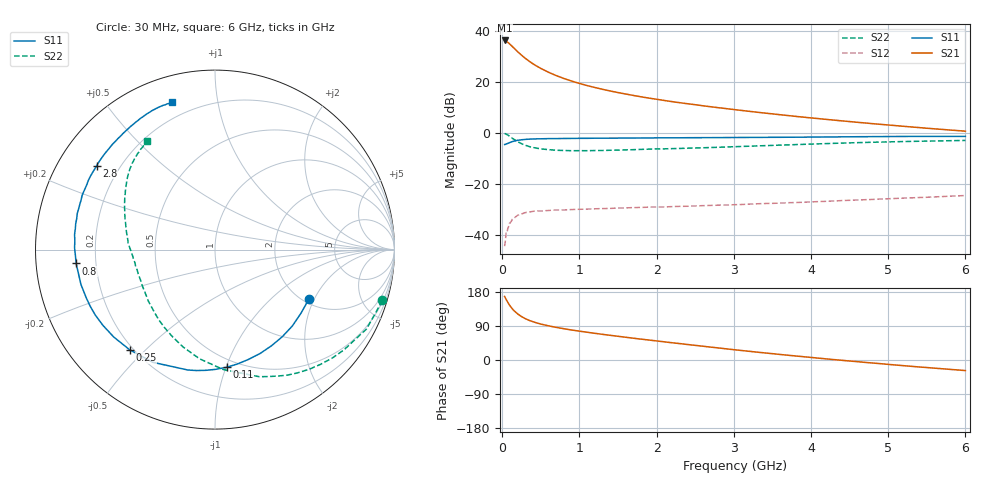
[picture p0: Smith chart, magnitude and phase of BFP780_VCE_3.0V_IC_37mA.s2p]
! Infineon Technologies  Discrete & RF Semiconductors
! BFP780
! VCE =  3.0 V,  IC =  37 mA
! Common Emitter S-Parameters:  Jul 2015
# GHz  S  MA  R  50
!  f  S11  S21  S12  S22
! GHz  MAG  ANG  MAG  ANG  MAG  ANG  MAG  ANG
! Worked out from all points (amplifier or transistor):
!   75 points, 30 MHz to 6 GHz, reference 50 ohm
!   highest |S21| = 36.1 dB at 30 MHz (marker M1)
!   |S21| within 3 dB of that: start of sweep to 151.5 MHz
!   unconditionally stable (mu >= 1): 2.106 GHz to end of sweep
!   at 150 MHz: K = 0.10, MSG = 33.3 dB, |S12| = -33.4 dB
!   at 2.3 GHz: K = 1.06, MAG = 18.7 dB, |S12| = -28.7 dB
!   at 6 GHz: K = 1.33, MAG = 9.2 dB, |S12| = -24.5 dB
!   S11 on the Smith chart (normalised r, x): 30 MHz: 2.15, -1.82; 110 MHz: 0.43, -1.00; 250 MHz: 0.19, -0.45; 800 MHz: 0.13, -0.05; 2.8 GHz: 0.12, +0.32; 6 GHz: 0.12, +0.74
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0.03  0.5915 -27.7  64.04 167.8  0.0061 76.0  0.9745 -16.9
0.05  0.6056 -44.6  61.91 159.7  0.0113 69.9  0.9525 -27.8
0.07  0.6217 -59.7  58.98 152.6  0.0132 65.2  0.9102 -37.9
0.09  0.6396 -73.1  55.65 146.0  0.017 59.2  0.8676 -47.6
0.11  0.6589 -84.4  52.14 140.2  0.0182 53.9  0.8266 -56.2
0.13  0.6745 -94.3  48.8 135.1  0.0205 50.4  0.7848 -63.9
0.15  0.6877 -102.7  45.57 130.6  0.0214 45.6  0.7493 -70.9
0.2  0.7172 -118.9  38.45 121.4  0.0246 37.7  0.6701 -86.0
0.25  0.7332 -130.4  32.92 114.4  0.026 32.5  0.6142 -98.1
0.3  0.7453 -139.2  28.49 108.9  0.0277 28.7  0.5711 -108.1
0.35  0.7538 -146.0  25.03 104.4  0.0283 26.2  0.5395 -116.2
0.45  0.7636 -155.6  20.01 97.6  0.0297 22.2  0.5008 -128.8
0.6  0.7718 -165.5  15.27 90.1  0.0304 18.9  0.4699 -142.0
0.8  0.7776 -174.3  11.54 82.5  0.0312 16.8  0.4524 -153.8
1.1  0.7823 176.4  8.396 73.2  0.0323 16.0  0.4481 -165.4
1.5  0.7896 167.4  6.129 62.6  0.0339 16.0  0.4598 -175.4
2.1  0.7996 156.2  4.294 47.9  0.0357 16.0  0.4873 174.1
2.8  0.8086 144.6  3.107 31.8  0.0386 17.1  0.5228 162.7
3.1  0.8132 139.9  2.744 25.1  0.0398 17.1  0.5424 158.0
4.1  0.8292 125.7  1.897 4.8  0.0454 17.1  0.6102 144.3
5.1  0.85 114.4  1.384 -13.3  0.0523 15.0  0.6713 132.5
6  0.8544 106.2  1.079 -27.9  0.0596 11.3  0.7114 122.0
